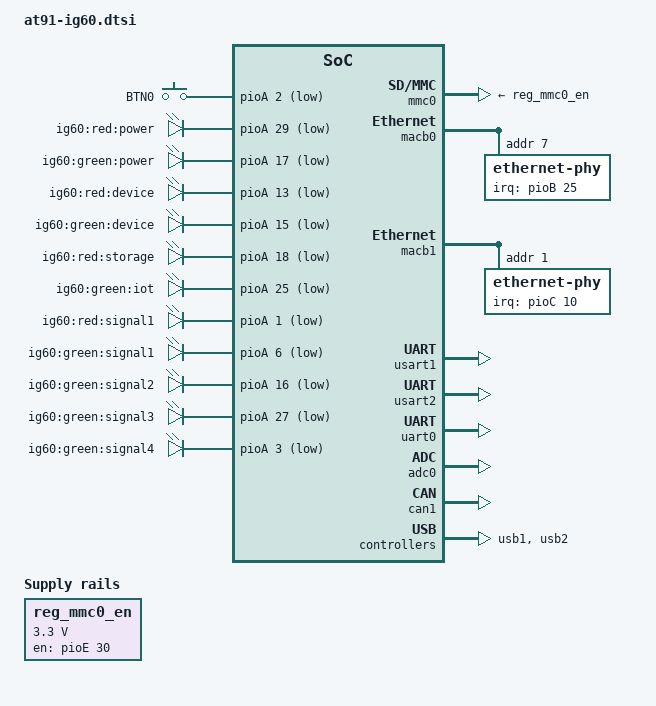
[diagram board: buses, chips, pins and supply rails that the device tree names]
/*
 * at91-ig60.dtsi - Device Tree file for Laird IG60 board
 *
 *  Copyright (C) 2018 Laird,
 *		  2018 Ben Whitten <ben.whitten@lairdconnect.com>
 *		  2018 Boris Krasnovskiy <boris.krasnovskiy@lairdconnect.com>
 *
 * Licensed under GPLv2 or later.
 */

/ {
	reg_mmc0_en: reg_mmc0_en_grp {
		pinctrl-names = "default";
		pinctrl-0 = <&pinctrl_mmc0_en>;

		compatible = "regulator-fixed";
		regulator-name = "VDD MMC0";
		regulator-min-microvolt = <3300000>;
		regulator-max-microvolt = <3300000>;

		gpio = <&pioE 30 GPIO_ACTIVE_HIGH>;
		enable-active-high;
	};

	gpio_keys {
		compatible = "gpio-keys";
		#address-cells = <1>;
		#size-cells = <0>;

		btn0@pa2 {
			label = "BTN0";
			linux,code = <0x100>;		/* BTN0 button */
			gpios = <&pioA 2 GPIO_ACTIVE_LOW>;
			linux,input-type = <1>; 	/* EV.KEY */
			debounce-interval = <100>;	/* Debounce interval 100 ms */
		};
	};

	status_leds {
		compatible = "gpio-leds";

		led@1 {
			label = "ig60:red:power";
			gpios = <&pioA 29 GPIO_ACTIVE_LOW>;
			panic-indicator;
		};

		power_led_green: led@2 {
			label = "ig60:green:power";
			gpios = <&pioA 17 GPIO_ACTIVE_LOW>;
			linux,default-trigger = "timer";
			panic-indicator;
		};

		led@3 {
			label = "ig60:red:device";
			gpios = <&pioA 13 GPIO_ACTIVE_LOW>;
			default-state = "off";
		};

		led@4 {
			label = "ig60:green:device";
			gpios = <&pioA 15 GPIO_ACTIVE_LOW>;
			default-state = "off";
		};

		led@5 {
			label = "ig60:red:storage";
			gpios = <&pioA 18 GPIO_ACTIVE_LOW>;
			default-state = "off";
		};

		led@6 {
			label = "ig60:green:iot";
			gpios = <&pioA 25 GPIO_ACTIVE_LOW>;
			default-state = "off";
		};

		led@7 {
			label = "ig60:red:signal1";
			gpios = <&pioA 1 GPIO_ACTIVE_LOW>;
			default-state = "off";
		};

		led@8 {
			label = "ig60:green:signal1";
			gpios = <&pioA 6 GPIO_ACTIVE_LOW>;
			default-state = "off";
		};

		led@9 {
			label = "ig60:green:signal2";
			gpios = <&pioA 16 GPIO_ACTIVE_LOW>;
			default-state = "off";
		};

		led@10 {
			label = "ig60:green:signal3";
			gpios = <&pioA 27 GPIO_ACTIVE_LOW>;
			default-state = "off";
		};

		led@11 {
			label = "ig60:green:signal4";
			gpios = <&pioA 3 GPIO_ACTIVE_LOW>;
			default-state = "off";
		};
	};

	gpio {
		compatible = "gpio-of-helper";
		status = "okay";
		pinctrl-names = "default";
		pinctrl-0 = <&pinctrl_gpio_misc>;

		bt_boot_status {
			gpio-name = "bt_boot_status";
			gpio = <&pioA 26 GPIO_ACTIVE_HIGH>;
			input;
		};

		bt_boot_mode {
			gpio-name = "bt_boot_mode";
			gpio = <&pioA 23 GPIO_ACTIVE_HIGH>;
			output;
			init-high;
		};

		bt_nautorun {
			gpio-name = "bt_nautorun";
			gpio = <&pioA 21 GPIO_ACTIVE_HIGH>;
			output;
			init-low;
		};

		card_detect1 {
			gpio-name = "card_detect1";
			gpio = <&pioA 8 GPIO_ACTIVE_HIGH>;
			input;
		};

		card_detect2 {
			gpio-name = "card_detect2";
			gpio = <&pioA 10 GPIO_ACTIVE_HIGH>;
			input;
		};

		card_detect3 {
			gpio-name = "card_detect3";
			gpio = <&pioA 19 GPIO_ACTIVE_HIGH>;
			input;
		};

		card_nreset {
			gpio-name = "card_nreset";
			gpio = <&pioA 24 GPIO_ACTIVE_HIGH>;
			output;
			init-high;
		};

		ser_rs485_hd {
			gpio-name = "ser_rs485_hd";
			gpio = <&pioA 20 GPIO_ACTIVE_HIGH>;
			output;
			init-high;
		};

		ser_nrs232 {
			gpio-name = "ser_nrs232";
			gpio = <&pioA 22 GPIO_ACTIVE_HIGH>;
			output;
			init-low;
		};

		ser_term {
			gpio-name = "ser_term";
			gpio = <&pioA 28 GPIO_ACTIVE_HIGH>;
			output;
			init-low;
		};

		lte_on {
			gpio-name = "lte_on";
			gpio = <&pioA 7 GPIO_ACTIVE_HIGH>;
			output;
			init-high;
		};

		lte_emerg_off {
			gpio-name = "lte_emerg_off";
			gpio = <&pioC 28 GPIO_ACTIVE_HIGH>;
			output;
			init-low;
		};

		lte_fast_shdn {
			gpio-name = "lte_fast_shdn";
			gpio = <&pioC 25 GPIO_ACTIVE_HIGH>;
			output;
			init-high;
		};

		lte_status {
			gpio-name = "lte_status";
			gpio = <&pioA 9 GPIO_ACTIVE_HIGH>;
			input;
		};

	};
};

&pinctrl {
	board {
		pinctrl_mmc0_cd: mmc0_cd {
			atmel,pins =
				<AT91_PIOE 31 AT91_PERIPH_GPIO AT91_PINCTRL_DEGLITCH>;
		};

		pinctrl_mmc0_en: mmc0_en {
			atmel,pins =
				<AT91_PIOE 30 AT91_PERIPH_GPIO AT91_PINCTRL_NONE>;
		};

		pinctrl_usb_vbus: usb_vbus {
			atmel,pins =
				<AT91_PIOE 20 AT91_PERIPH_GPIO AT91_PINCTRL_NONE>;
		};

		pinctrl_usb_oc: usb_oc {
			atmel,pins =
				<AT91_PIOE 15 AT91_PERIPH_GPIO AT91_PINCTRL_DEGLITCH>;
		};

		pinctrl_lte_usb_vbus: lte_usb_vbus {
			atmel,pins =
				<AT91_PIOE 16 AT91_PERIPH_GPIO AT91_PINCTRL_NONE>;
		};

		pinctrl_geth_int: geth_int {
			atmel,pins =
				<AT91_PIOB 25 AT91_PERIPH_GPIO AT91_PINCTRL_DEGLITCH>;
		};

		pinctrl_eth_int: eth_int {
			atmel,pins =
				<AT91_PIOC 10 AT91_PERIPH_GPIO AT91_PINCTRL_DEGLITCH>;
		};

		pinctrl_gpio_misc: gpio_misc {
			atmel,pins =
				<AT91_PIOA 26 AT91_PERIPH_GPIO AT91_PINCTRL_NONE>,
				<AT91_PIOA 23 AT91_PERIPH_GPIO AT91_PINCTRL_NONE>,
				<AT91_PIOA 21 AT91_PERIPH_GPIO AT91_PINCTRL_NONE>,
				<AT91_PIOA 8 AT91_PERIPH_GPIO AT91_PINCTRL_PULL_UP>,
				<AT91_PIOA 10 AT91_PERIPH_GPIO AT91_PINCTRL_PULL_UP>,
				<AT91_PIOA 19 AT91_PERIPH_GPIO AT91_PINCTRL_PULL_UP>,
				<AT91_PIOA 24 AT91_PERIPH_GPIO AT91_PINCTRL_NONE>,
				<AT91_PIOA 20 AT91_PERIPH_GPIO AT91_PINCTRL_NONE>,
				<AT91_PIOA 28 AT91_PERIPH_GPIO AT91_PINCTRL_NONE>,
				<AT91_PIOA 22 AT91_PERIPH_GPIO AT91_PINCTRL_NONE>,
				<AT91_PIOA 7 AT91_PERIPH_GPIO AT91_PINCTRL_NONE>,
				<AT91_PIOC 28 AT91_PERIPH_GPIO AT91_PINCTRL_NONE>,
				<AT91_PIOC 25 AT91_PERIPH_GPIO AT91_PINCTRL_NONE>,
				<AT91_PIOA 9 AT91_PERIPH_GPIO AT91_PINCTRL_NONE>;
		};
	};
};

&mmc0 {
	pinctrl-names = "default";
	pinctrl-0 = <&pinctrl_mmc0_clk_cmd_dat0 &pinctrl_mmc0_dat1_3 &pinctrl_mmc0_cd>;

	vmmc-supply = <&reg_mmc0_en>;
	status = "okay";

	slot@0 {
		reg = <0>;
		bus-width = <4>;

		cd-gpios = <&pioE 31 GPIO_ACTIVE_HIGH>;
	};
};

&macb0 {
	status = "okay";

	ethernet-phy@7 {
		pinctrl-names = "default";
		pinctrl-0 = <&pinctrl_geth_int>;

		reg = <7>;
		interrupt-parent = <&pioB>;
		interrupts = <25 IRQ_TYPE_EDGE_FALLING>;

		ksz9021,rgmii_2.0_timing;
	};
};

&macb1 {
	status = "okay";

	ethernet-phy@1 {
		pinctrl-names = "default";
		pinctrl-0 = <&pinctrl_eth_int>;

		reg = <1>;
		interrupt-parent = <&pioC>;
		interrupts = <10 IRQ_TYPE_EDGE_FALLING>;
	};
};

&usart1 {
	pinctrl-0 = <&pinctrl_usart1 &pinctrl_usart1_rts_cts>;
	atmel,use-dma-rx;
	atmel,use-dma-tx;
	status = "okay";
};

&usart2 {
	pinctrl-0 = <&pinctrl_usart2 &pinctrl_usart2_rts_cts>;
	atmel,use-dma-rx;
	atmel,use-dma-tx;
	status = "okay";
};

&uart0 {
	status = "okay";
};

&adc0 {
	status = "okay";
};

&can1 {
	status = "okay";
};

&usb1 {
	pinctrl-names = "default";
	pinctrl-0 = <&pinctrl_usb_oc &pinctrl_usb_vbus &pinctrl_lte_usb_vbus>;

	num-ports = <3>;
	atmel,vbus-gpio = <0>, <&pioE 20 GPIO_ACTIVE_HIGH>, <&pioE 16 GPIO_ACTIVE_LOW>;
	atmel,oc-gpio = <0>, <&pioE 15 GPIO_ACTIVE_LOW>, <0>;

	status = "okay";
};

&usb2 {
	status = "okay";
};
